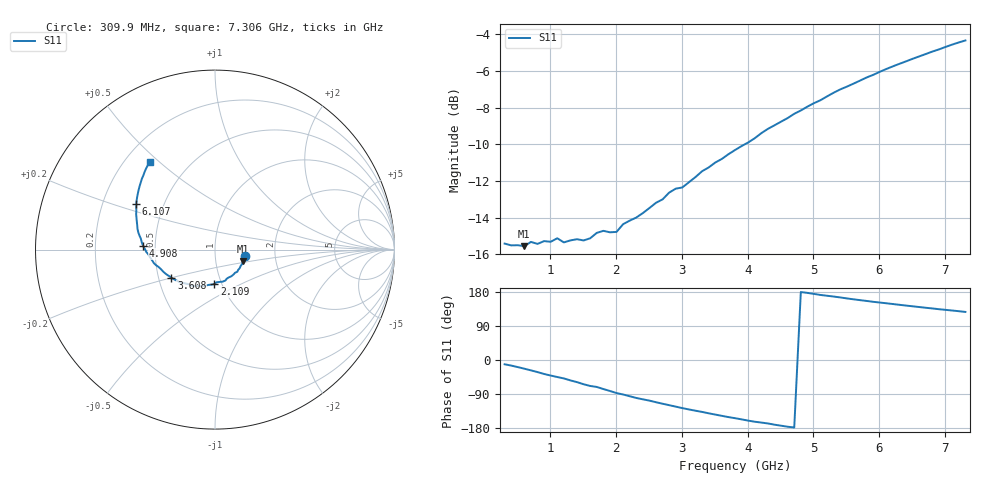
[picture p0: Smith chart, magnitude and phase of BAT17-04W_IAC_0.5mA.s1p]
! Infineon Technologies  Discrete & RF Semiconductors
! BAT17-04W
! IAC = 0.5 mA
! One-Port S-Parameters
# Hz  S  MA  R  50
!f  S11
!Hz  Mag  Ang
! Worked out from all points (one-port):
!   71 points, 309.9 MHz to 7.306 GHz, reference 50 ohm
!   lowest |S11| = -15.6 dB at 609.7 MHz (marker M1), VSWR 1.40, Z = 67.5 - j9.03 ohm
!   |S11| at or under -10 dB: start of sweep to 3.955 GHz
!   S11 on the Smith chart (normalised r, x): 309.9 MHz: 1.40, -0.10; 2.109 GHz: 0.92, -0.37; 3.608 GHz: 0.58, -0.20; 4.908 GHz: 0.43, +0.02; 6.107 GHz: 0.35, +0.24; 7.306 GHz: 0.30, +0.46
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3.0985e8  0.1696 -11.3
6.097e8  0.1668 -23.0
7.0965e8  0.1713 -27.3
8.096e8  0.1692 -31.9
1.10945e9  0.1753 -44.9
1.2094e9  0.1708 -48.6
1.4093e9  0.1743 -58.4
1.50925e9  0.1729 -64.0
1.70915e9  0.1814 -71.1
1.8091e9  0.1837 -76.6
2.009e9  0.1824 -87.2
2.10895e9  0.1915 -91.0
2.30885e9  0.1997 -100.2
2.6087e9  0.2191 -111.4
2.90855e9  0.2394 -123.0
3.0085e9  0.2413 -127.0
3.30835e9  0.2672 -137.0
3.6082e9  0.2886 -147.3
3.8081e9  0.3052 -153.5
4.30785e9  0.3486 -167.4
4.70765e9  0.3833 -178.1
4.90755e9  0.4009 177.1
5.30735e9  0.4376 167.4
5.6072e9  0.4631 160.2
6.10695e9  0.5079 149.7
6.50675e9  0.5415 141.7
6.8066e9  0.5667 136.0
7.30635e9  0.6075 126.9
